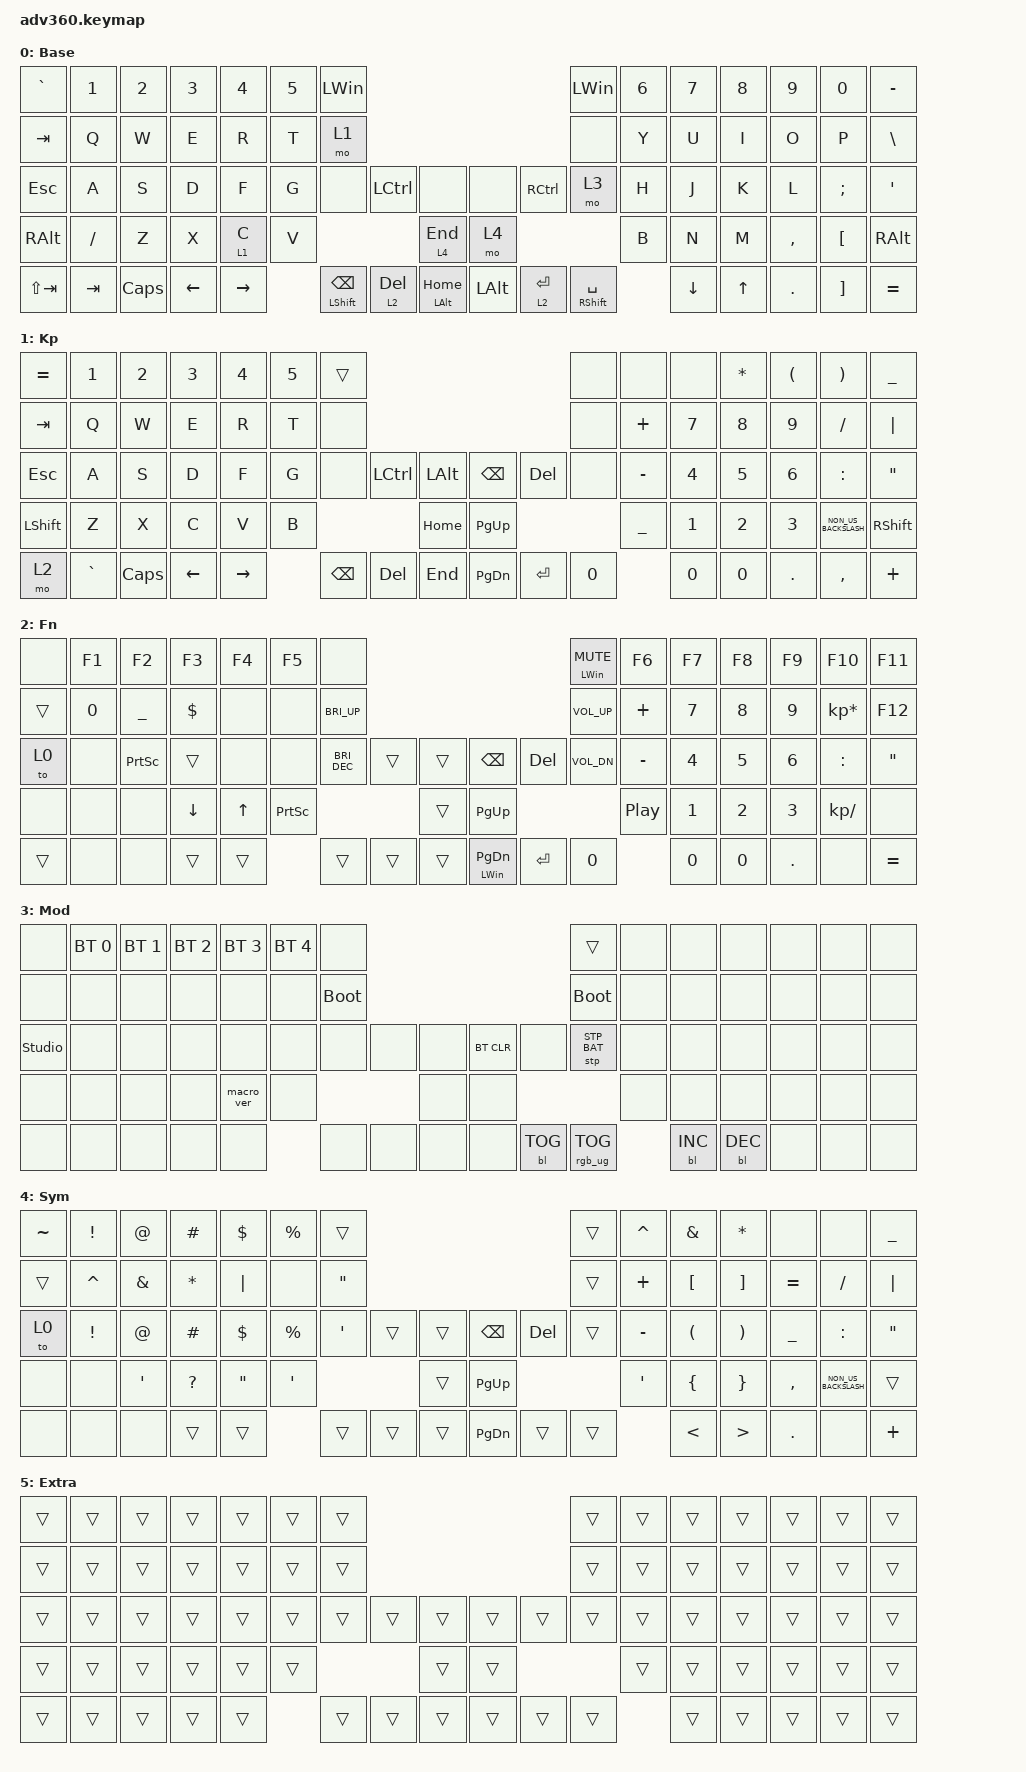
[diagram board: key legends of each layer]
/*
 * Copyright (c) 2020 The ZMK Contributors
 *
 * SPDX-License-Identifier: MIT
 */
/* THIS FILE WAS GENERATED!
 *
 * This file was generated automatically. You may or may not want to
 * edit it directly.
 */

#include <dt-bindings/zmk/mouse.h>
#include <behaviors.dtsi>
#include <dt-bindings/zmk/keys.h>
#include <dt-bindings/zmk/bt.h>
#include <dt-bindings/zmk/rgb.h>
#include <dt-bindings/zmk/stp.h>
#include <dt-bindings/zmk/backlight.h>
#include <dt-bindings/zmk/pointing.h>

/ {
    behaviors {
        #include "macros.dtsi"
        #include "version.dtsi"

        hm: homerow_mods {
            compatible = "zmk,behavior-hold-tap";
            label = "HOMEROW_MODS";
            #binding-cells = <2>;
            tapping-term-ms = <200>;
            quick_tap_ms = <175>;
            flavor = "tap-preferred";
            bindings = <&kp>, <&kp>;
        };

        jumpWordLeft: jumpWordLeft {
            compatible = "zmk,behavior-tap-dance";
            label = "JUMPWORDLEFT";
            #binding-cells = <0>;
            bindings = <&kp LEFT_ARROW>, <&kp LC(LEFT_ARROW)>;

            tapping-term-ms = <270>;
        };

        jumpWordRight: jumpWordRight {
            compatible = "zmk,behavior-tap-dance";
            label = "JUMPWORDRIGHT";
            #binding-cells = <0>;
            bindings = <&kp RIGHT>, <&kp LC(RIGHT)>;

            tapping-term-ms = <270>;
        };

        capslock: capslock {
            compatible = "zmk,behavior-tap-dance";
            label = "CAPSLOCK";
            #binding-cells = <0>;
            bindings = <&kp LSHFT>, <&kp CAPS>, <&caps_word>;
        };
    };

    combos {
        compatible = "zmk,combos";

        TrackballScrollMB4 {
            bindings = <&mkp MB4>;
            key-positions = <71 72 73>;
        };

        LeftClick {
            bindings = <&mkp MB1>;
            key-positions = <71 72>;
        };

        RightClick {
            bindings = <&mkp MB2>;
            key-positions = <72 73>;
        };

        fancyFM_01 {
            bindings = <&kp LS(LALT)>;
            key-positions = <0 1>;
        };

        FlowLauncher {
            bindings = <&kp LA(SPACE)>;
            key-positions = <63 64>;
        };

        FancyFMLeftThumb {
            bindings = <&kp LS(LEFT_ALT)>;
            key-positions = <67 65>;
        };

        FancyFMRightThumb {
            bindings = <&kp LS(LALT)>;
            key-positions = <68 70>;
        };

        FanyFM-0 {
            bindings = <&kp LS(LALT)>;
            key-positions = <12 13>;
        };

        FancyFMjm {
            bindings = <&kp LS(LALT)>;
            key-positions = <41 56>;
        };

        altGrR {
            bindings = <&kp RALT>;
            key-positions = <23 24>;
        };

        altGrL {
            bindings = <&kp RALT>;
            key-positions = <17 18>;
        };
    };

    keymap {
        compatible = "zmk,keymap";

        default_layer {
            display-name = "Base";
            bindings = <
&kp GRAVE      &kp N1     &kp N2    &kp N3    &kp N4     &kp N5  &kp LWIN                                                                     &kp LWIN         &kp N6  &kp N7          &kp N8        &kp N9     &kp N0            &kp MINUS
&kp TAB        &kp Q      &kp W     &kp E     &kp R      &kp T   &mo 1                                                                        &none            &kp Y   &kp U           &kp I         &kp O      &kp P             &kp BSLH
&kp ESCAPE     &kp A      &kp S     &kp D     &kp F      &kp G   &none                &kp LCTRL     &none              &none     &kp RCTRL    &mo 3            &kp H   &kp J           &kp K         &kp L      &kp SEMICOLON     &kp SQT
&kp RIGHT_ALT  &kp SLASH  &kp Z     &kp X     &lt 1 C    &kp V                                      &lt 4 END          &mo 4                                   &kp B   &kp N           &kp M         &kp COMMA  &kp LEFT_BRACKET  &kp RIGHT_ALT
&kp LS(TAB)    &kp TAB    &kp CAPS  &kp LEFT  &kp RIGHT          &hm LSHFT BACKSPACE  &lt 2 DELETE  &hm LALT HOME      &kp LALT  &lt 2 ENTER  &hm RSHFT SPACE          &kp DOWN_ARROW  &kp UP_ARROW  &kp DOT    &kp RBKT          &kp EQUAL
            >;
        };

        layer_keypad {
            display-name = "Kp";
            bindings = <
&kp EQUAL  &kp N1     &kp N2    &kp N3    &kp N4     &kp N5  &trans                                                        &none   &none           &none         &kp ASTERISK  &kp LEFT_PARENTHESIS  &kp RIGHT_PARENTHESIS  &kp UNDER
&kp TAB    &kp Q      &kp W     &kp E     &kp R      &kp T   &none                                                         &none   &kp PLUS        &kp N7        &kp N8        &kp N9                &kp SLASH              &kp PIPE
&kp ESC    &kp A      &kp S     &kp D     &kp F      &kp G   &none     &kp LCTRL  &kp LALT      &kp BACKSPACE  &kp DELETE  &none   &kp MINUS       &kp N4        &kp N5        &kp NUMBER_6          &kp COLON              &kp DOUBLE_QUOTES
&kp LSHFT  &kp Z      &kp X     &kp C     &kp V      &kp B                        &kp HOME      &kp PG_UP                          &kp UNDERSCORE  &kp NUMBER_1  &kp NUMBER_2  &kp NUMBER_3          &kp NON_US_BACKSLASH   &kp RSHFT
&mo 2      &kp GRAVE  &kp CAPS  &kp LEFT  &kp RIGHT          &kp BSPC  &kp DEL    &kp END       &kp PG_DN      &kp ENTER   &kp N0                  &kp N0        &kp N0        &kp PERIOD            &kp COMMA              &kp PLUS
            >;
        };

        layer_fn {
            display-name = "Fn";
            bindings = <
&none   &kp F1  &kp F2           &kp F3          &kp F4  &kp F5           &none                                                                         &hm LWIN K_MUTE  &kp F6            &kp F7        &kp F8        &kp F9        &kp F10          &kp F11
&trans  &kp N0  &kp UNDERSCORE   &kp DOLLAR      &none   &none            &kp C_BRI_UP                                                                  &kp C_VOLUME_UP  &kp PLUS          &kp N7        &kp N8        &kp N9        &kp KP_MULTIPLY  &kp F12
&to 0   &none   &kp PRINTSCREEN  &trans          &none   &none            &kp C_BRIGHTNESS_DEC  &trans  &trans      &kp BACKSPACE           &kp DELETE  &kp C_VOL_DN     &kp MINUS         &kp NUMBER_4  &kp N5        &kp NUMBER_6  &kp COLON        &kp DOUBLE_QUOTES
&none   &none   &none            &kp DOWN_ARROW  &kp UP  &kp PRINTSCREEN                                &trans      &kp PG_UP                                            &kp C_PLAY_PAUSE  &kp NUMBER_1  &kp NUMBER_2  &kp NUMBER_3  &kp KP_DIVIDE    &none
&trans  &none   &none            &trans          &trans                   &trans                &trans  &trans      &hm LEFT_WIN PAGE_DOWN  &kp ENTER   &kp N0                             &kp N0        &kp NUMBER_0  &kp PERIOD    &none            &kp EQUAL
            >;
        };

        layer_mod {
            display-name = "Mod";
            bindings = <
&none  &bt BT_SEL 0  &bt BT_SEL 1  &bt BT_SEL 2  &bt BT_SEL 3  &bt BT_SEL 4  &none                                                  &trans                  &none  &none       &none       &none  &none  &none
&none  &none         &none         &none         &none         &none         &bootloader                                            &bootloader             &none  &none       &none       &none  &none  &none
&studio_unlock  &none         &none         &none         &none         &none         &none        &none  &none      &bt BT_CLR  &none       &stp STP_BAT           &none  &none       &none       &none  &none  &none
&none  &none         &none         &none         &macro_ver    &none                             &none      &none                                           &none  &none       &none       &none  &none  &none
&none  &none         &none         &none         &none                       &none        &none  &none      &none       &bl BL_TOG  &rgb_ug RGB_TOG                &bl BL_INC  &bl BL_DEC  &none  &none  &none
            >;
        };

        numbers_and_sym_4 {
            display-name = "Sym";
            bindings = <
&kp TILDE  &kp EXCLAMATION  &kp AT_SIGN    &kp HASH      &kp DOLLAR         &kp PERCENT  &trans                                                         &trans  &kp CARET  &kp AMPERSAND         &kp ASTERISK           &none           &none                 &kp UNDERSCORE
&trans     &kp CARET        &kp AMPERSAND  &kp ASTERISK  &kp PIPE           &none        &kp DOUBLE_QUOTES                                              &trans  &kp PLUS   &kp LEFT_BRACKET      &kp RIGHT_BRACKET      &kp EQUAL       &kp SLASH             &kp PIPE
&to 0      &kp EXCLAMATION  &kp AT         &kp HASH      &kp DOLLAR         &kp PERCENT  &kp SQT            &trans  &trans      &kp BACKSPACE  &kp DEL  &trans  &kp MINUS  &kp LEFT_PARENTHESIS  &kp RIGHT_PARENTHESIS  &kp UNDERSCORE  &kp COLON             &kp DOUBLE_QUOTES
&none      &none            &kp SQT        &kp QUESTION  &kp DOUBLE_QUOTES  &kp SQT                                 &trans      &kp PG_UP                       &kp SQT    &kp LEFT_BRACE        &kp RIGHT_BRACE        &kp COMMA       &kp NON_US_BACKSLASH  &trans
&none      &none            &none          &trans        &trans                          &trans             &trans  &trans      &kp PG_DN      &trans   &trans             &kp LESS_THAN         &kp GREATER_THAN       &kp DOT         &none                 &kp PLUS
            >;
        };

        layer_5 {
            display-name = "Extra";
            bindings = <
&trans  &trans  &trans  &trans  &trans  &trans  &trans                                      &trans  &trans  &trans  &trans  &trans  &trans  &trans
&trans  &trans  &trans  &trans  &trans  &trans  &trans                                      &trans  &trans  &trans  &trans  &trans  &trans  &trans
&trans  &trans  &trans  &trans  &trans  &trans  &trans  &trans  &trans      &trans  &trans  &trans  &trans  &trans  &trans  &trans  &trans  &trans
&trans  &trans  &trans  &trans  &trans  &trans                  &trans      &trans                  &trans  &trans  &trans  &trans  &trans  &trans
&trans  &trans  &trans  &trans  &trans          &trans  &trans  &trans      &trans  &trans  &trans          &trans  &trans  &trans  &trans  &trans
            >;
        };

        extra3 {
            display-name = "Cyan";
            status = "reserved";
        };

        extra4 {
            display-name = "Yellow";
            status = "reserved";
        };
    };
};
